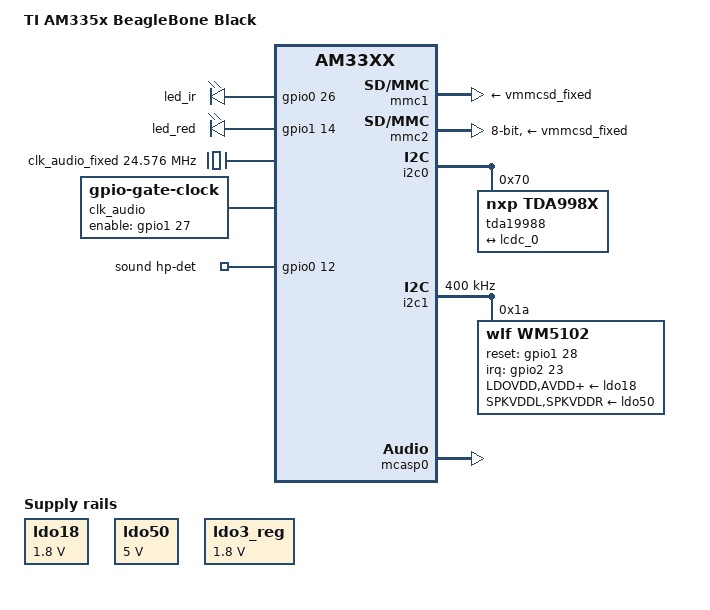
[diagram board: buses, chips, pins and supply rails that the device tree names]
/*
 * Copyright (C) 2012 Texas Instruments Incorporated - http://www.ti.com/
 *
 * This program is free software; you can redistribute it and/or modify
 * it under the terms of the GNU General Public License version 2 as
 * published by the Free Software Foundation.
 */
/dts-v1/;

#include "am33xx.dtsi"
#include "am335x-bone-common.dtsi"
#include "dt-bindings/mfd/arizona.h"

/ {
	model = "TI AM335x BeagleBone Black";
	compatible = "ti,am335x-bone-black", "ti,am335x-bone", "ti,am33xx";


leds {
     pinctrl-names = "default";
     pinctrl-0 = <&led_pins_default>;
     compatible = "gpio-leds";

     led@1 {
     	   label= "led_ir";
	   gpios = <&gpio0 26 GPIO_ACTIVE_HIGH>;
	   default-state = "off";
	   };

     led@2 {
     	   label= "led_red";
	   gpios = <&gpio1 14 GPIO_ACTIVE_HIGH>;
	   default-state = "off";
	   };
};



ldo18: ldo18 {
      compatible = "regulator-fixed";
      regulator-name = "DC_1V8";
      regulator-min-microvolt = <1800000>;
      regulator-max-microvolt = <1800000>;
      enable-active-high;
      regulator-always-on;
        };

ldo50: ldo50 { /* BBB VCC_5V */
      compatible = "regulator-fixed";
      regulator-name = "DC_5V0";
      regulator-min-microvolt = <5000000>;
      regulator-max-microvolt = <5000000>;
      enable-active-high;
      regulator-always-on;
        };

clk_audio_fixed: clk_audio_fixed {
      #clock-cells = <0>;
      compatible = "fixed-clock";
      clock-frequency = <24576000>;
};


clk_audio: clk_audio {
      #clock-cells = <0>;
      compatible = "gpio-gate-clock";
      clocks = <&clk_audio_fixed>;
      enable-gpios = <&gpio1 27 GPIO_ACTIVE_HIGH>; /* BeagleBone Black Clk enable on GPIO1_27 */
};


sound {
    status = "okay";
    compatible = "simple-audio-card";
    simple-audio-card,name = "WM5102";
    simple-audio-card,widgets =
        "Line", "Line In";
    simple-audio-card,routing =
				 "IN1L", "Line In",
				 "IN1R", "Line In",
				 "IN2L", "Line In",
				 "IN2R", "Line In",
				 "IN3L", "Line In",
				 "IN3R", "Line In";
	simple-audio-card,hp-det-gpio = <&gpio0 12 GPIO_ACTIVE_HIGH>; /*TP38*/
    simple-audio-card,dai-link {
	format = "dsp_b";
	bitclock-master = <&sound_master>;
	frame-master = <&sound_master>;
	cpu {
		sound-dai = <&mcasp0>;
		/*
		dai-tdm-slot-num = <6>;
		dai-tdm-slot-width = <32>;
		*/
	};
	sound_master: codec {
		sound-dai = <&wm5102>;
		clocks = <&clk_audio>;
		/*
		dai-tdm-slot-num = <6>;
		dai-tdm-slot-width = <32>;
		*/
	};
    };

};

};

&ldo3_reg {
	regulator-min-microvolt = <1800000>;
	regulator-max-microvolt = <1800000>;
	regulator-always-on;
};

&mmc1 {
	vmmc-supply = <&vmmcsd_fixed>;
};

&mmc2 {
	vmmc-supply = <&vmmcsd_fixed>;
	pinctrl-names = "default";
	pinctrl-0 = <&emmc_pins>;
	bus-width = <8>;
	status = "okay";
};

&am33xx_pinmux {

	nxp_hdmi_bonelt_pins: nxp_hdmi_bonelt_pins {
		pinctrl-single,pins = <
		0x1b0 0x03      /* xdma_event_intr0, OMAP_MUX_MODE3 | AM33XX_PIN_OUTPUT */
		0x18c ( PIN_INPUT_PULLUP | MUX_MODE0 ) /* (C16) I2C0_SCL.I2C0_SCL */
		0x188 ( PIN_INPUT_PULLUP | MUX_MODE0 ) /* (C17) I2C0_SDA.I2C0_SDA */
		>;
	};
	
	nxp_hdmi_bonelt_off_pins: nxp_hdmi_bonelt_off_pins {
		pinctrl-single,pins = <
			0x1b0 0x03      /* xdma_event_intr0, OMAP_MUX_MODE3 | AM33XX_PIN_OUTPUT */
			0x18c ( PIN_INPUT | MUX_MODE0 ) /* (C16) I2C0_SCL.I2C0_SCL */
			0x188 ( PIN_INPUT | MUX_MODE0 ) /* (C17) I2C0_SDA.I2C0_SDA */
		>;
	};

	led_pins_default: led_pins_default {
		pinctrl-single,pins = <
			0x178 ( PIN_OUTPUT | MUX_MODE7 ) /* (D18) uart1_ctsn.gpio0[12] TP38 */
			0x17c ( PIN_OUTPUT | MUX_MODE7 ) /* (D17) uart1_rtsn.gpio0[13] TP39 */
			0x28 ( PIN_OUTPUT_PULLDOWN | MUX_MODE7 ) /* (T11) gpmc_ad10.gpio0[26] IR LED */
			0x38 ( PIN_OUTPUT_PULLDOWN | MUX_MODE7 ) /* (V13) gpmc_ad14.gpio1[14] RED LED */
		>;
	};

	accel_pins_default: accel_pins_default {
		pinctrl-single,pins = <
			0xe8 ( PIN_INPUT_PULLDOWN | MUX_MODE7 ) /* (V5) lcd_pclk.gpio2[24] ACCEL_ST */
			0xec ( PIN_INPUT_PULLUP | MUX_MODE7 ) /* (R6) lcd_ac_bias_en.gpio2[25] ACCEL_FS */
		>;
	};

	mcasp0_slave_pins_default: mcasp0_slave_pins_default {
		pinctrl-single,pins = <
			0x1a0 ( PIN_INPUT | MUX_MODE0 ) /* (B12) mcasp0_aclkr.mcasp0_aclkr */
			0x1a4 ( PIN_INPUT | MUX_MODE0 ) /* (C13) mcasp0_fsr.mcasp0_fsr */
			0x198 ( PIN_INPUT | MUX_MODE0 ) /* (D12) mcasp0_axr0.mcasp0_axr0 */
			0x19c ( PIN_OUTPUT | MUX_MODE2 ) /* (C12) mcasp0_ahclkr.mcasp0_axr2 */
		>;
	};

	wm5102_pins_default: wm5102_pins_default {
		pinctrl-single,pins = <
			0x6c ( PIN_OUTPUT_PULLUP | MUX_MODE7 ) /* (V17) gpmc_a11.gpio1[27] 24.576 MHZ CE */
			0x78 ( PIN_OUTPUT_PULLDOWN | MUX_MODE7 ) /* (U18) gpmc_be1n.gpio1[28] /RESET */
			0x7c ( PIN_OUTPUT_PULLUP | MUX_MODE7 ) /* (V6) gpmc_csn0.gpio1[29] LDOENA */
			0xe4 ( PIN_INPUT_PULLUP | MUX_MODE7 ) /* (R5) lcd_hsync.gpio2[23] /IRQ */
			0x1ac ( PIN_INPUT | MUX_MODE7 ) /* (A14) mcasp0_ahclkx.gpio3[21] AUDIO_MCLK */
			0x15c ( PIN_INPUT_PULLUP | MUX_MODE2 ) /* (A16) spi0_cs0.I2C1_SCL */
			0x158 ( PIN_INPUT_PULLUP | MUX_MODE2 ) /* (B16) spi0_d1.I2C1_SDA */
			0x164 ( PIN_INPUT | MUX_MODE7 ) /* (C18) eCAP0_in_PWM0_out.gpio0[7] (AUDIO BCLK) HIGHZ*/
		>;
	};


};

&lcdc {
	status = "disabled";
	port {
		lcdc_0: endpoint@0 {
			remote-endpoint = <&hdmi_0>;
		};
	};
};

&i2c0 {
	tda19988 {
		compatible = "nxp,tda998x";
		reg = <0x70>;
		pinctrl-names = "default", "off";
		pinctrl-0 = <&nxp_hdmi_bonelt_pins>;
		pinctrl-1 = <&nxp_hdmi_bonelt_off_pins>;

		port {
			hdmi_0: endpoint@0 {
				remote-endpoint = <&lcdc_0>;
			};
		};
	};
};


&i2c1 {
      pinctrl-names = "default";
      pintctrl-0 = <&wm5102_pins_default>;
      status = "okay";
      clock-frequency = <400000>;


      wm5102: wm5102@1a {
		compatible = "wlf,wm5102";
	      reg = <0x1a>;
	      status = "okay";
	      /* /IRQ is connected to GPIO2_23. Mask from HiassofT DT for cirrus audio board was 8 */
	      interrupts = <23 0>;
	      interrupt-controller;
	      #interrupt-cells = <2>;
	      interrupt-parent = <&gpio2>;
	      gpio-controller;
	      #gpio-cells = <2>;
	      wlf,gpio-defaults = <
			ARIZONA_GP_FN_TXLRCLK
			ARIZONA_GP_DEFAULT
			ARIZONA_GP_DEFAULT
			ARIZONA_GP_DEFAULT
			ARIZONA_GP_DEFAULT
			>;
	      wlf,reset = <&gpio1 28 GPIO_ACTIVE_HIGH>; /* allow /RESET wm5102 by driver (via inverter)*/
	      LDOVDD-supply  = <&ldo18>; /* fixed 1V8 regulator */
	      AVDD-supply    = <&ldo18>;
	      DBVDD1-supply  = <&ldo18>;
	      DBVDD2-supply  = <&ldo18>;
	      DBVDD3-supply  = <&ldo18>;
	      CPVDD-supply   = <&ldo18>;
	      SPKVDDL-supply = <&ldo50>; /* fixed VDD_5V from BBB */
	      SPKVDDR-supply = <&ldo50>;
              #sound-dai-cells = <0>;
/* we haven't figured out how reference the internal LDO */
#if 0
	ldo1: ldo1 {
		wlf,ldoena = <&gpio1 29 GPIO_ACTIVE_HIGH>; /* allow LDOENA wm5102 by driver */
	};
#endif
      };

};


&mcasp0 {
        pinctrl-names = "default";
        pinctrl-0 = <&mcasp0_slave_pins_default>;

        status = "okay";
        op-mode = <0>;        /* MCASP_IIS_MODE */
	tdm-slots = <6>;
        /* 4 serializers */
        serial-dir = <  /* 0: INACTIVE, 1: TX, 2: RX - 0 2 0 0 */
                2 0 0 0
        >;
        tx-num-evt = <32>;
        rx-num-evt = <32>;
        #sound-dai-cells = <0>;
};


&rtc {
	system-power-controller;
};
